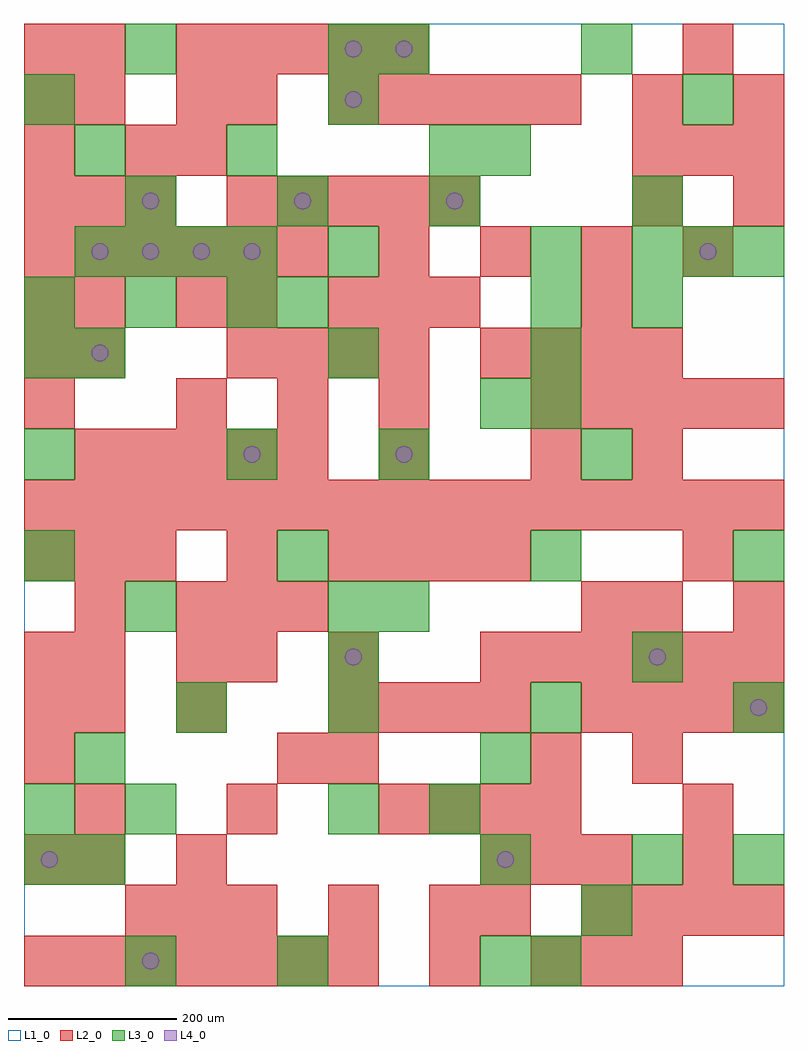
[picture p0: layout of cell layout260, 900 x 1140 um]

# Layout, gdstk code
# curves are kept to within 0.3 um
import gdstk
lib = gdstk.Library(unit=1e-6, precision=1e-09)
def R(c, l, rs):  # rectangles x0, y0, x1, y1
    for r in rs: c.add(gdstk.rectangle(r[:2], r[2:], *l))
def A(c, l, x, y, w, h, nx, ny, dx, dy):  # array of equal rectangles
    R(c, l, [(x+i*dx, y+j*dy, x+i*dx+w, y+j*dy+h) for i in range(nx) for j in range(ny)])
def P(c, l, *ps):  # polygons
    for p in ps: c.add(gdstk.Polygon(p, *l))
L1_0 = (1, 0)
L2_0 = (2, 0)
L3_0 = (3, 0)
L4_0 = (4, 0)

layout260 = lib.new_cell('layout260')
R(layout260, L1_0, [(0,0,900,1140)])
A(layout260, L2_0, 0, 0, 60, 60, 7, 1, 60, 0)
A(layout260, L2_0, 600, 0, 60, 60, 3, 1, 60, 0)
A(layout260, L2_0, 120, 60, 60, 60, 3, 1, 60, 0)
A(layout260, L2_0, 660, 60, 60, 60, 4, 2, 60, 240)
A(layout260, L2_0, 540, 120, 60, 60, 3, 1, 60, 0)
A(layout260, L2_0, 60, 180, 60, 60, 3, 1, 180, 0)
A(layout260, L2_0, 480, 180, 60, 60, 3, 1, 60, 0)
A(layout260, L2_0, 0, 240, 60, 60, 1, 3, 0, 60)
A(layout260, L2_0, 720, 240, 60, 60, 1, 3, 0, 180)
A(layout260, L2_0, 60, 300, 60, 60, 1, 3, 0, 60)
A(layout260, L2_0, 360, 300, 60, 60, 4, 2, 60, 180)
A(layout260, L2_0, 540, 360, 60, 60, 6, 1, 60, 0)
A(layout260, L2_0, 180, 420, 60, 60, 3, 1, 60, 0)
A(layout260, L2_0, 0, 480, 60, 60, 3, 2, 60, 420)
A(layout260, L2_0, 0, 540, 60, 60, 15, 1, 60, 0)
A(layout260, L2_0, 60, 600, 60, 60, 5, 1, 60, 0)
A(layout260, L2_0, 0, 660, 60, 60, 1, 3, 0, 60)
A(layout260, L2_0, 180, 660, 60, 60, 3, 1, 120, 0)
A(layout260, L2_0, 600, 660, 60, 60, 5, 1, 60, 0)
A(layout260, L2_0, 240, 720, 60, 60, 4, 1, 60, 0)
A(layout260, L2_0, 540, 720, 60, 60, 4, 1, 60, 0)
A(layout260, L2_0, 360, 780, 60, 60, 3, 1, 60, 0)
A(layout260, L2_0, 0, 840, 60, 60, 6, 1, 60, 0)
A(layout260, L2_0, 420, 840, 60, 60, 4, 1, 120, 0)
A(layout260, L2_0, 240, 900, 60, 60, 5, 1, 60, 0)
A(layout260, L2_0, 0, 960, 60, 60, 1, 3, 0, 60)
A(layout260, L2_0, 720, 960, 60, 60, 3, 1, 60, 0)
A(layout260, L2_0, 360, 1020, 60, 60, 5, 1, 60, 0)
A(layout260, L2_0, 180, 1080, 60, 60, 5, 1, 60, 0)
R(layout260, L2_0, [(480,0,540,60), (360,60,420,120), (480,60,540,120), (540,60,600,120), (0,120,60,180), (60,120,120,180), (180,120,240,180), (780,120,840,180), (780,180,840,240), (300,240,360,300), (360,240,420,300), (600,240,660,300), (180,300,240,360), (180,360,240,420), (240,360,300,420), (360,360,420,420), (660,420,720,480), (840,420,900,480), (240,480,300,540), (780,480,840,540), (420,600,480,660), (600,600,660,660), (60,720,120,780), (60,780,120,840), (180,780,240,840), (240,780,300,840), (660,780,720,840), (720,900,780,960), (840,900,900,960), (120,960,180,1020), (180,960,240,1020), (60,1020,120,1080), (180,1020,240,1080), (240,1020,300,1080), (720,1020,780,1080), (840,1020,900,1080), (60,1080,120,1140), (780,1080,840,1140)])
A(layout260, L3_0, 540, 0, 60, 60, 1, 3, 0, 120)
A(layout260, L3_0, 360, 300, 60, 60, 3, 1, 240, 0)
A(layout260, L3_0, 0, 480, 60, 60, 3, 1, 300, 0)
A(layout260, L3_0, 600, 660, 60, 60, 1, 4, 0, 60)
A(layout260, L3_0, 0, 780, 60, 60, 3, 1, 120, 0)
A(layout260, L3_0, 60, 840, 60, 60, 4, 1, 60, 0)
A(layout260, L3_0, 720, 840, 60, 60, 3, 1, 60, 0)
A(layout260, L3_0, 120, 900, 60, 60, 3, 1, 180, 0)
R(layout260, L3_0, [(120,0,180,60), (300,0,360,60), (600,0,660,60), (660,60,720,120), (0,120,60,180), (60,120,120,180), (720,120,780,180), (840,120,900,180), (0,180,60,240), (120,180,180,240), (360,180,420,240), (480,180,540,240), (60,240,120,300), (180,300,240,360), (360,360,420,420), (720,360,780,420), (120,420,180,480), (360,420,420,480), (420,420,480,480), (840,480,900,540), (0,600,60,660), (240,600,300,660), (420,600,480,660), (660,600,720,660), (540,660,600,720), (0,720,60,780), (60,720,120,780), (360,720,420,780), (300,780,360,840), (720,780,780,840), (360,840,420,900), (720,900,780,960), (60,960,120,1020), (240,960,300,1020), (480,960,540,1020), (540,960,600,1020), (0,1020,60,1080), (360,1020,420,1080), (780,1020,840,1080), (120,1080,180,1140), (360,1080,420,1140), (420,1080,480,1140), (660,1080,720,1140)])
P(layout260, L4_0, [(40,150),(39.239,153.827),(37.071,157.071),(33.827,159.239),(30,160),(26.173,159.239),(22.929,157.071),(20.761,153.827),(20,150),(20.761,146.173),(22.929,142.929),(26.173,140.761),(30,140),(33.827,140.761),(37.071,142.929),(39.239,146.173)],
  [(100,750),(99.239,753.827),(97.071,757.071),(93.827,759.239),(90,760),(86.173,759.239),(82.929,757.071),(80.761,753.827),(80,750),(80.761,746.173),(82.929,742.929),(86.173,740.761),(90,740),(93.827,740.761),(97.071,742.929),(99.239,746.173)],
  [(100,870),(99.239,873.827),(97.071,877.071),(93.827,879.239),(90,880),(86.173,879.239),(82.929,877.071),(80.761,873.827),(80,870),(80.761,866.173),(82.929,862.929),(86.173,860.761),(90,860),(93.827,860.761),(97.071,862.929),(99.239,866.173)],
  [(160,30),(159.239,33.827),(157.071,37.071),(153.827,39.239),(150,40),(146.173,39.239),(142.929,37.071),(140.761,33.827),(140,30),(140.761,26.173),(142.929,22.929),(146.173,20.761),(150,20),(153.827,20.761),(157.071,22.929),(159.239,26.173)],
  [(160,870),(159.239,873.827),(157.071,877.071),(153.827,879.239),(150,880),(146.173,879.239),(142.929,877.071),(140.761,873.827),(140,870),(140.761,866.173),(142.929,862.929),(146.173,860.761),(150,860),(153.827,860.761),(157.071,862.929),(159.239,866.173)],
  [(160,930),(159.239,933.827),(157.071,937.071),(153.827,939.239),(150,940),(146.173,939.239),(142.929,937.071),(140.761,933.827),(140,930),(140.761,926.173),(142.929,922.929),(146.173,920.761),(150,920),(153.827,920.761),(157.071,922.929),(159.239,926.173)],
  [(220,870),(219.239,873.827),(217.071,877.071),(213.827,879.239),(210,880),(206.173,879.239),(202.929,877.071),(200.761,873.827),(200,870),(200.761,866.173),(202.929,862.929),(206.173,860.761),(210,860),(213.827,860.761),(217.071,862.929),(219.239,866.173)],
  [(280,630),(279.239,633.827),(277.071,637.071),(273.827,639.239),(270,640),(266.173,639.239),(262.929,637.071),(260.761,633.827),(260,630),(260.761,626.173),(262.929,622.929),(266.173,620.761),(270,620),(273.827,620.761),(277.071,622.929),(279.239,626.173)],
  [(280,870),(279.239,873.827),(277.071,877.071),(273.827,879.239),(270,880),(266.173,879.239),(262.929,877.071),(260.761,873.827),(260,870),(260.761,866.173),(262.929,862.929),(266.173,860.761),(270,860),(273.827,860.761),(277.071,862.929),(279.239,866.173)],
  [(340,930),(339.239,933.827),(337.071,937.071),(333.827,939.239),(330,940),(326.173,939.239),(322.929,937.071),(320.761,933.827),(320,930),(320.761,926.173),(322.929,922.929),(326.173,920.761),(330,920),(333.827,920.761),(337.071,922.929),(339.239,926.173)],
  [(400,390),(399.239,393.827),(397.071,397.071),(393.827,399.239),(390,400),(386.173,399.239),(382.929,397.071),(380.761,393.827),(380,390),(380.761,386.173),(382.929,382.929),(386.173,380.761),(390,380),(393.827,380.761),(397.071,382.929),(399.239,386.173)],
  [(400,1050),(399.239,1053.827),(397.071,1057.071),(393.827,1059.239),(390,1060),(386.173,1059.239),(382.929,1057.071),(380.761,1053.827),(380,1050),(380.761,1046.173),(382.929,1042.929),(386.173,1040.761),(390,1040),(393.827,1040.761),(397.071,1042.929),(399.239,1046.173)],
  [(400,1110),(399.239,1113.827),(397.071,1117.071),(393.827,1119.239),(390,1120),(386.173,1119.239),(382.929,1117.071),(380.761,1113.827),(380,1110),(380.761,1106.173),(382.929,1102.929),(386.173,1100.761),(390,1100),(393.827,1100.761),(397.071,1102.929),(399.239,1106.173)],
  [(460,630),(459.239,633.827),(457.071,637.071),(453.827,639.239),(450,640),(446.173,639.239),(442.929,637.071),(440.761,633.827),(440,630),(440.761,626.173),(442.929,622.929),(446.173,620.761),(450,620),(453.827,620.761),(457.071,622.929),(459.239,626.173)],
  [(460,1110),(459.239,1113.827),(457.071,1117.071),(453.827,1119.239),(450,1120),(446.173,1119.239),(442.929,1117.071),(440.761,1113.827),(440,1110),(440.761,1106.173),(442.929,1102.929),(446.173,1100.761),(450,1100),(453.827,1100.761),(457.071,1102.929),(459.239,1106.173)],
  [(520,930),(519.239,933.827),(517.071,937.071),(513.827,939.239),(510,940),(506.173,939.239),(502.929,937.071),(500.761,933.827),(500,930),(500.761,926.173),(502.929,922.929),(506.173,920.761),(510,920),(513.827,920.761),(517.071,922.929),(519.239,926.173)],
  [(580,150),(579.239,153.827),(577.071,157.071),(573.827,159.239),(570,160),(566.173,159.239),(562.929,157.071),(560.761,153.827),(560,150),(560.761,146.173),(562.929,142.929),(566.173,140.761),(570,140),(573.827,140.761),(577.071,142.929),(579.239,146.173)],
  [(760,390),(759.239,393.827),(757.071,397.071),(753.827,399.239),(750,400),(746.173,399.239),(742.929,397.071),(740.761,393.827),(740,390),(740.761,386.173),(742.929,382.929),(746.173,380.761),(750,380),(753.827,380.761),(757.071,382.929),(759.239,386.173)],
  [(820,870),(819.239,873.827),(817.071,877.071),(813.827,879.239),(810,880),(806.173,879.239),(802.929,877.071),(800.761,873.827),(800,870),(800.761,866.173),(802.929,862.929),(806.173,860.761),(810,860),(813.827,860.761),(817.071,862.929),(819.239,866.173)],
  [(880,330),(879.239,333.827),(877.071,337.071),(873.827,339.239),(870,340),(866.173,339.239),(862.929,337.071),(860.761,333.827),(860,330),(860.761,326.173),(862.929,322.929),(866.173,320.761),(870,320),(873.827,320.761),(877.071,322.929),(879.239,326.173)])

lib.write_gds('layout260.gds')
